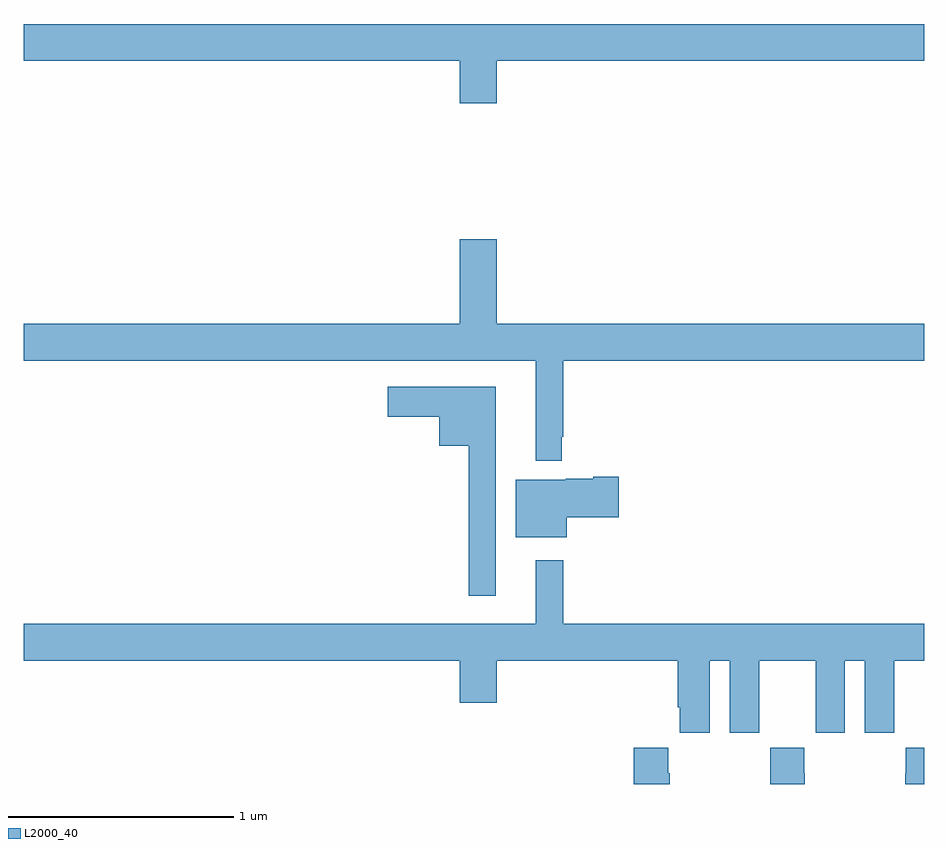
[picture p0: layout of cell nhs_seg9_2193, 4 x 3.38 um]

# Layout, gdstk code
import gdstk
lib = gdstk.Library(unit=1e-6, precision=1e-09)
def P(c, l, *ps):  # polygons
    for p in ps: c.add(gdstk.Polygon(p, *l))
L2000_40 = (2000, 40)

nhs_seg9_2193 = lib.new_cell('nhs_seg9_2193')
P(nhs_seg9_2193, L2000_40, [(237.1,1237.712),(239,1237.712),(239,1237.876),(235,1237.876),(235,1237.712),(236.936,1237.712),(236.936,1237.524),(237.1,1237.524)],
  [(237.389,1236.043),(237.397,1236.043),(237.397,1236.38),(239,1236.38),(239,1236.544),(237.1,1236.544),(237.1,1236.919),(236.936,1236.919),(236.936,1236.544),(235,1236.544),(235,1236.38),(237.275,1236.38),(237.275,1235.936),(237.389,1235.936)],
  [(237.097,1236.265),(236.616,1236.265),(236.616,1236.131),(236.846,1236.131),(236.846,1236.002),(236.976,1236.002),(236.976,1235.337),(237.097,1235.337)],
  [(237.412,1235.686),(237.643,1235.686),(237.643,1235.864),(237.53,1235.864),(237.53,1235.857),(237.408,1235.857),(237.408,1235.851),(237.185,1235.851),(237.185,1235.597),(237.412,1235.597)],
  [(235,1235.048),(236.936,1235.048),(236.936,1234.86),(237.1,1234.86),(237.1,1235.048),(237.905,1235.048),(237.905,1234.84),(237.914,1234.84),(237.914,1234.728),(238.048,1234.728),(238.048,1235.048),(238.136,1235.048),(238.136,1234.728),(238.266,1234.728),(238.266,1234.84),(238.267,1234.84),(238.267,1235.048),(238.517,1235.048),(238.517,1234.84),(238.518,1234.84),(238.518,1234.728),(238.648,1234.728),(238.648,1235.048),(238.736,1235.048),(238.736,1234.728),(238.866,1234.728),(238.866,1234.84),(238.867,1234.84),(238.867,1235.048),(239,1235.048),(239,1235.212),(237.397,1235.212),(237.397,1235.494),(237.275,1235.494),(237.275,1235.212),(235,1235.212)],
  [(237.87,1234.547),(237.863,1234.547),(237.863,1234.66),(237.71,1234.66),(237.71,1234.5),(237.87,1234.5)],
  [(238.47,1234.547),(238.467,1234.547),(238.467,1234.66),(238.317,1234.66),(238.317,1234.547),(238.315,1234.547),(238.315,1234.5),(238.47,1234.5)],
  [(239,1234.66),(238.917,1234.66),(238.917,1234.547),(238.915,1234.547),(238.915,1234.5),(239,1234.5)])

lib.write_gds('nhs_seg9_2193.gds')
